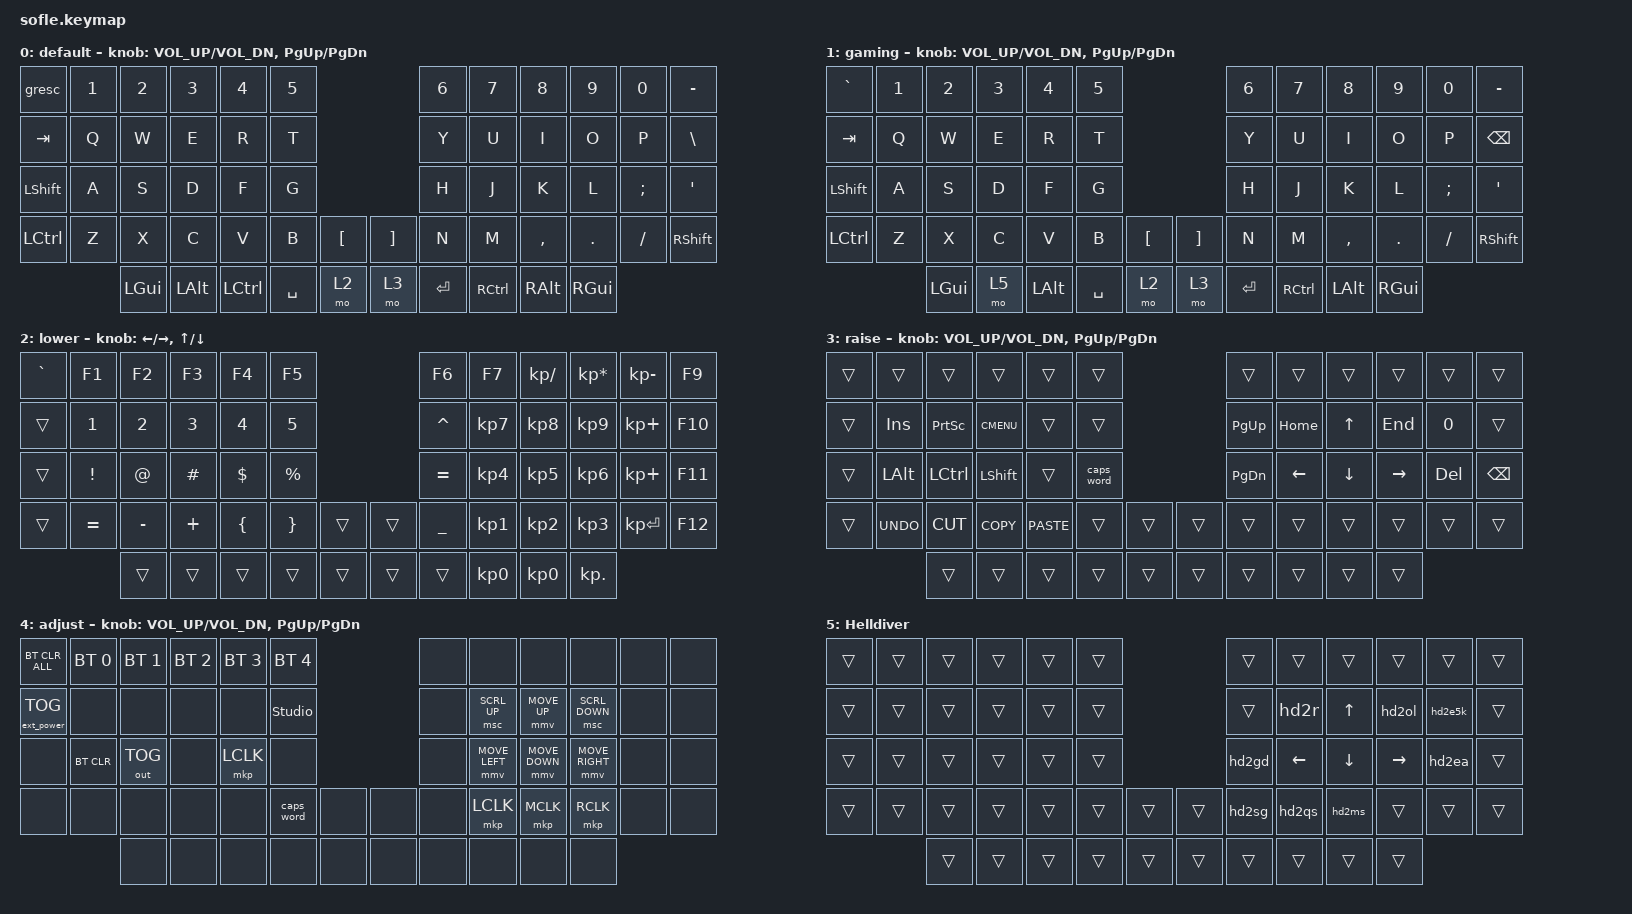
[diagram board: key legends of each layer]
/*
 * Copyright (c) 2020 The ZMK Contributors
 *
 * SPDX-License-Identifier: MIT
 */

#include <behaviors.dtsi>
#include <dt-bindings/zmk/bt.h>
#include <dt-bindings/zmk/ext_power.h>
#include <dt-bindings/zmk/keys.h>
#include <dt-bindings/zmk/outputs.h>
#include <dt-bindings/zmk/pointing.h>

#define BASE 0
#define LOWER 1
#define RAISE 2
#define ADJUST 3
#define extra_layer 4

/ {
    // Activate ADJUST layer by pressing raise and lower

    conditional_layers {
        compatible = "zmk,conditional-layers";

        adjust_layer {
            if-layers = <2 3>;
            then-layer = <4>;
        };
    };

    combos {
        compatible = "zmk,combos";

        backspace {
            bindings = <&kp BACKSPACE>;
            key-positions = <32 31>;
        };

        delete {
            bindings = <&kp DELETE>;
            key-positions = <45 46>;
        };

        esc {
            bindings = <&kp ESCAPE>;
            key-positions = <14 13>;
        };

        togame {
            bindings = <&tog 1>;
            key-positions = <36 54 55>;
        };
    };

    behaviors {
        caps: caps {
            compatible = "zmk,behavior-caps-word";
            label = "CAPS";
            #binding-cells = <0>;
            continue-list = <POUND MINUS BACKSPACE UNDERSCORE>;
        };
    };

    macros {
        hd2gd: hd2gd {
            compatible = "zmk,behavior-macro";
            #binding-cells = <0>;
            bindings =
                <&none>,
                <&macro_press>,
                <&kp LCTRL>,
                <&macro_tap>,
                <&kp DOWN &kp UP_ARROW &kp LEFT &kp UP_ARROW &kp RIGHT &kp RIGHT>;

            label = "HD2GD";
            wait-ms = <80>;
            tap-ms = <40>;
        };

        hd2ol: hd2ol {
            compatible = "zmk,behavior-macro";
            #binding-cells = <0>;
            bindings =
                <&none>,
                <&macro_press>,
                <&kp LCTRL>,
                <&macro_tap>,
                <&kp RIGHT &kp DOWN &kp UP_ARROW &kp RIGHT &kp DOWN>;

            label = "HD2OL";
            wait-ms = <80>;
            tap-ms = <40>;
        };

        hd2r: hd2r {
            compatible = "zmk,behavior-macro";
            #binding-cells = <0>;
            bindings =
                <&none>,
                <&macro_press>,
                <&kp LCTRL>,
                <&macro_tap>,
                <&kp UP_ARROW &kp DOWN &kp RIGHT &kp LEFT &kp UP_ARROW>;

            label = "HD2R";
            wait-ms = <80>;
            tap-ms = <40>;
        };

        hd2e5k: hd2e5k {
            compatible = "zmk,behavior-macro";
            #binding-cells = <0>;
            bindings =
                <&none>,
                <&macro_press>,
                <&kp LCTRL>,
                <&macro_tap>,
                <&kp UP_ARROW &kp RIGHT &kp DOWN &kp DOWN &kp DOWN>;

            label = "HD2E5K";
            wait-ms = <80>;
            tap-ms = <40>;
        };

        hd2ea: hd2ea {
            compatible = "zmk,behavior-macro";
            #binding-cells = <0>;
            bindings =
                <&none>,
                <&macro_press>,
                <&kp LCTRL>,
                <&macro_tap>,
                <&kp UP_ARROW &kp RIGHT &kp DOWN &kp RIGHT>;

            label = "HD2EA";
            wait-ms = <80>;
            tap-ms = <40>;
        };

        hd2sg: hd2sg {
            compatible = "zmk,behavior-macro";
            #binding-cells = <0>;
            bindings =
                <&none>,
                <&macro_press>,
                <&kp LCTRL>,
                <&macro_tap>,
                <&kp DOWN &kp UP &kp LEFT &kp RIGHT &kp LEFT &kp RIGHT>;

            label = "HD2QS";
            wait-ms = <80>;
            tap-ms = <40>;
        };

        hd2qs: hd2qs {
            compatible = "zmk,behavior-macro";
            #binding-cells = <0>;
            bindings =
                <&none>,
                <&macro_press>,
                <&kp LCTRL>,
                <&macro_tap>,
                <&kp DOWN &kp DOWN &kp UP &kp LEFT &kp RIGHT>;

            label = "HD2SG";
            wait-ms = <80>;
            tap-ms = <40>;
        };

        hd2ms: hd2ms {
            compatible = "zmk,behavior-macro";
            #binding-cells = <0>;
            bindings =
                <&none>,
                <&macro_press>,
                <&kp LCTRL>,
                <&macro_tap>,
                <&kp DOWN &kp UP &kp RIGHT &kp RIGHT &kp DOWN>;

            label = "HD2MS";
            wait-ms = <80>;
            tap-ms = <40>;
        };
    };

    keymap {
        compatible = "zmk,keymap";

        default_layer {
            display-name = "default";

            // ------------------------------------------------------------------------------------------------------------
            // |   `   |  1  |  2  |  3   |  4   |  5   |                   |  6   |  7    |  8    |  9   |   0   |       |
            // |  TAB  |  Q  |  W  |  E   |  R   |  T   |                   |  Y   |  U    |  I    |  O   |   P   | BKSPC |
            // | SHIFT |  A  |  S  |  D   |  F   |  G   |                   |  H   |  J    |  K    |  L   |   ;   |   '   |
            // |  CTRL |  Z  |  X  |  C   |  V   |  B   |  MUTE  |  |       |  N   |  M    |  ,    |  .   |   /   | SHIFT |
            //               | GUI | ALT  | CTRL | LOWER|  ENTER |  | SPACE | RAISE| CTRL  | ALT   | GUI  |

            bindings = <
&gresc            &kp N1  &kp N2    &kp N3    &kp N4     &kp N5                           &kp N6     &kp N7     &kp N8     &kp N9    &kp N0    &kp MINUS
&kp TAB           &kp Q   &kp W     &kp E     &kp R      &kp T                            &kp Y      &kp U      &kp I      &kp O     &kp P     &kp BACKSLASH
&kp LEFT_SHIFT    &kp A   &kp S     &kp D     &kp F      &kp G                            &kp H      &kp J      &kp K      &kp L     &kp SEMI  &kp SQT
&kp LEFT_CONTROL  &kp Z   &kp X     &kp C     &kp V      &kp B      &kp LBKT    &kp RBKT  &kp N      &kp M      &kp COMMA  &kp DOT   &kp FSLH  &kp RSHFT
                          &kp LGUI  &kp LALT  &kp LCTRL  &kp SPACE  &mo 2       &mo 3     &kp ENTER  &kp RCTRL  &kp RALT   &kp RGUI
            >;

            sensor-bindings = <&inc_dec_kp C_VOL_UP C_VOL_DN &inc_dec_kp PG_UP PG_DN>;
        };

        gaming_layer {
            display-name = "gaming";
            bindings = <
&kp GRAVE         &kp N1  &kp N2    &kp N3  &kp N4        &kp N5                           &kp N6     &kp N7     &kp N8     &kp N9    &kp N0    &kp MINUS
&kp TAB           &kp Q   &kp W     &kp E   &kp R         &kp T                            &kp Y      &kp U      &kp I      &kp O     &kp P     &kp BSPC
&kp LEFT_SHIFT    &kp A   &kp S     &kp D   &kp F         &kp G                            &kp H      &kp J      &kp K      &kp L     &kp SEMI  &kp SQT
&kp LEFT_CONTROL  &kp Z   &kp X     &kp C   &kp V         &kp B      &kp LBKT    &kp RBKT  &kp N      &kp M      &kp COMMA  &kp DOT   &kp FSLH  &kp RSHFT
                          &kp LGUI  &mo 5   &kp LEFT_ALT  &kp SPACE  &mo 2       &mo 3     &kp ENTER  &kp RCTRL  &kp LALT   &kp RGUI
            >;

            sensor-bindings =
                <&inc_dec_kp C_VOL_UP C_VOL_DN>,
                <&inc_dec_kp PG_UP PG_DN>;
        };

        lower_layer {
            display-name = "lower";

            // TODO: Some binds are waiting for shifted keycode support.
            // ------------------------------------------------------------------------------------------------------------
            // |       |  F1 |  F2 |  F3  |  F4  |  F5  |                   |  F6  |  F7   |  F8   |  F9  |  F10  |  F11  |
            // |       |  1  |  2  |  3   |  4   |  5   |                   |  6   |  7    |  8    |  9   |   0   |  F12  |
            // |       |  !  |  @  |  #   |  $   |  %   |                   |  ^   |  &    |  *    |  (   |   )   |   |   |
            // |       |  =  |  -  |  +   |  {   |  }   |        |  |       |  [   |  ]    |  ;    |  :   |   \   |       |
            //               |     |      |      |      |        |  |       |      |       |       |      |

            bindings = <
&kp GRAVE  &kp F1     &kp F2     &kp F3    &kp F4    &kp F5                       &kp F6          &kp F7           &kp KP_DIVIDE  &kp KP_ASTERISK  &kp KP_SUBTRACT  &kp F9
&trans     &kp N1     &kp N2     &kp N3    &kp N4    &kp N5                       &kp CARET       &kp KP_N7        &kp KP_N8      &kp KP_N9        &kp KP_PLUS      &kp F10
&trans     &kp EXCL   &kp AT     &kp HASH  &kp DLLR  &kp PRCNT                    &kp EQUAL       &kp KP_N4        &kp KP_N5      &kp KP_N6        &kp KP_PLUS      &kp F11
&trans     &kp EQUAL  &kp MINUS  &kp PLUS  &kp LBRC  &kp RBRC   &trans    &trans  &kp UNDERSCORE  &kp KP_NUMBER_1  &kp KP_N2      &kp KP_N3        &kp KP_ENTER     &kp F12
                      &trans     &trans    &trans    &trans     &trans    &trans  &trans          &kp KP_N0        &kp KP_N0      &kp KP_DOT
            >;

            sensor-bindings =
                <&inc_dec_kp LEFT_ARROW RIGHT_ARROW>,
                <&inc_dec_kp UP_ARROW DOWN_ARROW>;
        };

        raise_layer {
            display-name = "raise";

            // ------------------------------------------------------------------------------------------------------------
            // | BTCLR | BT1  | BT2  |  BT3  |  BT4  |  BT5 |                |      |      |       |      |       |       |
            // |       | INS  | PSCR | GUI   |       |      |                | PGUP |      |   ^   |      |       |       |
            // |       | ALT  | CTRL | SHIFT |       | CAPS |                | PGDN |   <- |   v   |  ->  |  DEL  | BKSPC |
            // |       | UNDO | CUT  | COPY  | PASTE |      |      |  |      |      |      |       |      |       |       |
            //                |      |       |       |      |      |  |      |      |      |       |      |

            bindings = <
&trans  &trans      &trans     &trans       &trans       &trans                        &trans     &trans    &trans    &trans     &trans   &trans
&trans  &kp INS     &kp PSCRN  &kp K_CMENU  &trans       &trans                        &kp PG_UP  &kp HOME  &kp UP    &kp END    &kp N0   &trans
&trans  &kp LALT    &kp LCTRL  &kp LSHFT    &trans       &caps_word                    &kp PG_DN  &kp LEFT  &kp DOWN  &kp RIGHT  &kp DEL  &kp BSPC
&trans  &kp K_UNDO  &kp K_CUT  &kp K_COPY   &kp K_PASTE  &trans      &trans    &trans  &trans     &trans    &trans    &trans     &trans   &trans
                    &trans     &trans       &trans       &trans      &trans    &trans  &trans     &trans    &trans    &trans
            >;

            sensor-bindings = <&inc_dec_kp C_VOL_UP C_VOL_DN &inc_dec_kp PG_UP PG_DN>;
        };

        adjust_layer {
            // ----------------------------------------------------------------------------------------------------------------------------
            // | BTCLR  |  BT1    |  BT2    |   BT3   |   BT4   |   BT5   |                  |      |      |       |      |       |       |
            // | EXTPWR | RGB_HUD | RGB_HUI | RGB_SAD | RGB_SAI | RGB_EFF |                  |      |      |       |      |       |       |
            // |        | RGB_BRD | RGB_BRI |         |         |         |                  |      |      |       |      |       |       |
            // |        |         |         |         |         |         | RGB_TOG | |      |      |      |       |      |       |       |
            //                    |         |         |         |         |         | |      |      |      |       |      |

            display-name = "adjust";
            bindings = <
&bt BT_CLR_ALL     &bt BT_SEL 0  &bt BT_SEL 1  &bt BT_SEL 2  &bt BT_SEL 3  &bt BT_SEL 4                    &none  &none           &none           &none            &none  &none
&ext_power EP_TOG  &none         &none         &none         &none         &studio_unlock                  &none  &msc SCRL_UP    &mmv MOVE_UP    &msc SCRL_DOWN   &none  &none
&none              &bt BT_CLR    &out OUT_TOG  &none         &mkp LCLK     &none                           &none  &mmv MOVE_LEFT  &mmv MOVE_DOWN  &mmv MOVE_RIGHT  &none  &none
&none              &none         &none         &none         &none         &caps_word      &none    &none  &none  &mkp LCLK       &mkp MCLK       &mkp RCLK        &none  &none
                                 &none         &none         &none         &none           &none    &none  &none  &none           &none           &none
            >;

            sensor-bindings = <&inc_dec_kp C_VOL_UP C_VOL_DN &inc_dec_kp PG_UP PG_DN>;
        };

        Helldiver {
            bindings = <
&trans  &trans  &trans  &trans  &trans  &trans                    &trans  &trans    &trans    &trans     &trans   &trans
&trans  &trans  &trans  &trans  &trans  &trans                    &trans  &hd2r     &kp UP    &hd2ol     &hd2e5k  &trans
&trans  &trans  &trans  &trans  &trans  &trans                    &hd2gd  &kp LEFT  &kp DOWN  &kp RIGHT  &hd2ea   &trans
&trans  &trans  &trans  &trans  &trans  &trans  &trans    &trans  &hd2sg  &hd2qs    &hd2ms    &trans     &trans   &trans
                &trans  &trans  &trans  &trans  &trans    &trans  &trans  &trans    &trans    &trans
            >;
        };
    };
};
